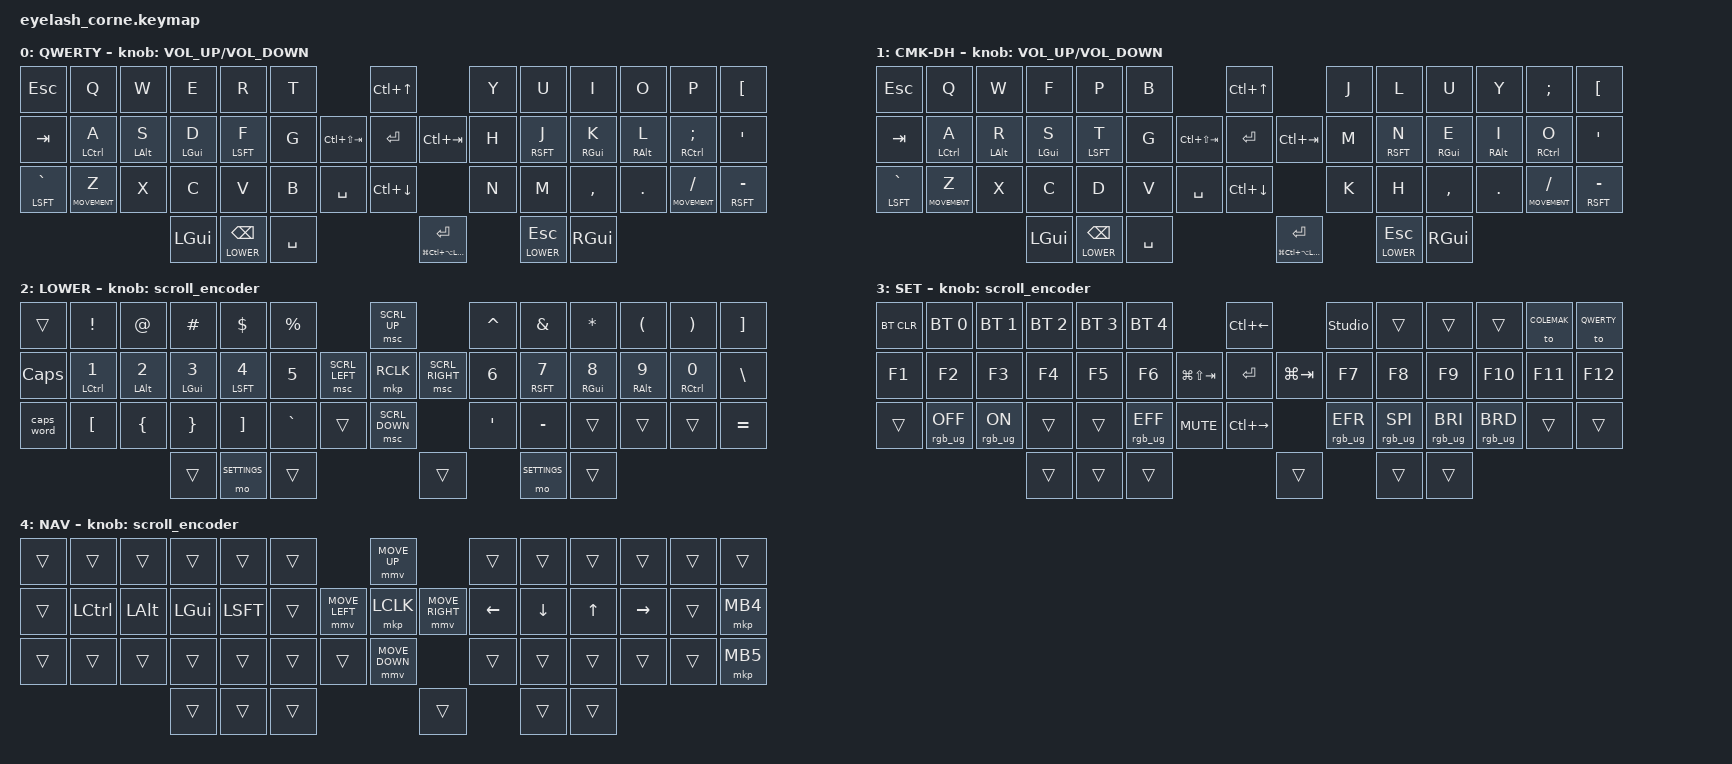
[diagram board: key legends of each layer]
#define ZMK_POINTING_DEFAULT_MOVE_VAL 1200  // 600
#define ZMK_POINTING_DEFAULT_SCRL_VAL 25   // 10

#include <input/processors.dtsi>
#include <zephyr/dt-bindings/input/input-event-codes.h>
#include <behaviors.dtsi>
#include <dt-bindings/zmk/bt.h>
#include <dt-bindings/zmk/ext_power.h>
#include <dt-bindings/zmk/keys.h>
#include <dt-bindings/zmk/outputs.h>
#include <dt-bindings/zmk/pointing.h>
#include <dt-bindings/zmk/rgb.h>


#include "zmk-helpers/key-labels/eyelash42.h"                                      // Source key-labels.
#define KEYS_L LT0 LT1 LT2 LT3 LT4 LT5 LM0 LM1 LM2 LM3 LM4 LM5 LB0 LB1 LB2 LB3 LB4 LB5  // Left-hand keys.
#define KEYS_R RT0 RT1 RT2 RT3 RT4 RT5 RM0 RM1 RM2 RM3 RM4 RM5 RB0 RB1 RB2 RB3 RB4 RB5  // Right-hand keys.
#define THUMBS LH2 LH1 LH0 RH0 RH1 RH2                                      // Thumb keys.

#define TAPPING_TERM_MS 180
#define TAPPING_TERM_SLOW_MS 220
#define QUICK_TAP_MS 100
#define REQUIRE_PRIOR_IDLE_MS 120

// Layers
#define QWERTY 0
#define COLEMAK 1
#define LOWER 2
#define SETTINGS 3
#define MOVEMENT 4

&mmv_input_listener { input-processors = <&zip_xy_scaler 2 1>; };

&msc_input_listener { input-processors = <&zip_scroll_scaler 2 1>; };

&msc {
    acceleration-exponent = <1>;      // 0
    time-to-max-speed-ms = <100>;       // 300
    delay-ms = <0>;                   // 0
};

&mmv {
    time-to-max-speed-ms = <500>;
    acceleration-exponent = <1>;
    trigger-period-ms = <16>;
};

/ {
    behaviors {
        hml: home_row_mods_left {
            compatible = "zmk,behavior-hold-tap";
            label = "HOME_ROW_MODS_LEFT";
            #binding-cells = <2>;
            flavor = "balanced";
            tapping-term-ms = <TAPPING_TERM_SLOW_MS>;
            quick-tap-ms = <QUICK_TAP_MS>;
            require-prior-idle-ms = <REQUIRE_PRIOR_IDLE_MS>;
            bindings = <&kp>, <&kp>;
            hold-trigger-key-positions = <KEYS_R THUMBS>;
            hold-trigger-on-release;
        };

        hmr: home_row_mods_right {
            compatible = "zmk,behavior-hold-tap";
            label = "HOME_ROW_MODS_RIGHT";
            #binding-cells = <2>;
            flavor = "balanced";
            tapping-term-ms = <TAPPING_TERM_SLOW_MS>;
            quick-tap-ms = <QUICK_TAP_MS>;
            require-prior-idle-ms = <REQUIRE_PRIOR_IDLE_MS>;
            bindings = <&kp>, <&kp>;
            hold-trigger-key-positions = <KEYS_L THUMBS>;
            hold-trigger-on-release;
        };

        hmls: home_row_mods_left_shift {
            compatible = "zmk,behavior-hold-tap";
            label = "HOME_ROW_MODS_LEFT";
            #binding-cells = <2>;
            flavor = "balanced";
            tapping-term-ms = <TAPPING_TERM_MS>;
            quick-tap-ms = <QUICK_TAP_MS>;
            bindings = <&kp>, <&kp>;
            hold-trigger-key-positions = <KEYS_R THUMBS>;
            hold-trigger-on-release;
        };
        hmrs: home_row_mods_right_shift {
            compatible = "zmk,behavior-hold-tap";
            label = "HOME_ROW_MODS_RIGHT";
            #binding-cells = <2>;
            flavor = "balanced";
            tapping-term-ms = <TAPPING_TERM_MS>;
            quick-tap-ms = <QUICK_TAP_MS>;
            bindings = <&kp>, <&kp>;
            hold-trigger-key-positions = <KEYS_L THUMBS>;
            hold-trigger-on-release;
        };
    };

    rgb_encoder: rgb_encoder {
        compatible = "zmk,behavior-sensor-rotate";
        #sensor-binding-cells = <0>;
        bindings = <&rgb_ug RGB_BRI>, <&rgb_ug RGB_BRD>;
    };

    scroll_encoder: scroll_encoder {
        compatible = "zmk,behavior-sensor-rotate";
        #sensor-binding-cells = <0>;
        bindings = <&msc SCRL_DOWN>, <&msc SCRL_UP>;
        tap-ms = <100>;
    };

    keymap {
        compatible = "zmk,keymap";

        qwerty_layer {
            display-name = "QWERTY";
            bindings = <
&kp ESC            &kp Q            &kp W            &kp E            &kp R            &kp T                        &kp LC(UP)                        &kp Y            &kp U            &kp I            &kp O            &kp P                   &kp LBKT
&kp TAB            &hml LCTRL A     &hml LALT S      &hml LGUI D      &hmls LSFT F     &kp G    &kp LC(LS(TAB))     &kp ENTER      &kp LC(TAB)        &kp H            &hmrs RSFT J     &hmr RGUI K      &hmr RALT L      &hmr RCTRL SEMI         &kp SQT
&hml LSFT GRAVE    &lt MOVEMENT Z   &kp X            &kp C            &kp V            &kp B    &kp SPACE           &kp LC(DOWN)                      &kp N            &kp M            &kp COMMA        &kp DOT          &lt MOVEMENT FSLH       &hmr RSFT MINUS
                                                     &kp LGUI         &lt LOWER BSPC   &kp SPACE                                   &hmr LG(LC(LA(LSFT))) ENTER         &lt LOWER ESC    &kp RGUI        
            >;
            sensor-bindings = <&inc_dec_kp C_VOLUME_UP C_VOLUME_DOWN>;
        };

        colemak_layer {
            display-name = "CMK-DH";
            bindings = <
&kp ESC            &kp Q            &kp W            &kp F            &kp P            &kp B                        &kp LC(UP)                        &kp J            &kp L            &kp U            &kp Y            &kp SEMI            &kp LBKT
&kp TAB            &hml LCTRL A     &hml LALT R      &hml LGUI S      &hmls LSFT T     &kp G    &kp LC(LS(TAB))     &kp ENTER      &kp LC(TAB)        &kp M            &hmrs RSFT N     &hmr RGUI E      &hmr RALT I      &hmr RCTRL O        &kp SQT
&hml LSFT GRAVE    &lt MOVEMENT Z   &kp X            &kp C            &kp D            &kp V    &kp SPACE           &kp LC(DOWN)                      &kp K            &kp H            &kp COMMA        &kp DOT          &lt MOVEMENT FSLH   &hmr RSFT MINUS
                                                     &kp LGUI         &lt LOWER BSPC   &kp SPACE                                   &hmr LG(LC(LA(LSFT))) ENTER         &lt LOWER ESC    &kp RGUI        
            >;
            sensor-bindings = <&inc_dec_kp C_VOLUME_UP C_VOLUME_DOWN>;
        };


        lower_layer {
            display-name = "LOWER";
            bindings = <
&trans            &kp EXCL          &kp AT           &kp HASH         &kp DOLLAR       &kp PRCNT                    &msc SCRL_UP                        &kp CARET        &kp AMPS          &kp STAR         &kp LPAR         &kp RPAR        &kp RBKT
&kp CAPS          &hml LCTRL N1     &hml LALT N2     &hml LGUI N3     &hmls LSFT N4    &kp N5    &msc SCRL_LEFT     &mkp RCLK       &msc SCRL_RIGHT     &kp  N6          &hmrs RSFT N7     &hmr RGUI N8     &hmr RALT N9     &hmr RCTRL N0   &kp BSLH
&caps_word        &kp LBKT          &kp LBRC         &kp RBRC         &kp RBKT         &kp GRAVE      &trans        &msc SCRL_DOWN                      &kp SQT          &kp MINUS         &trans           &trans           &trans          &kp EQUAL
                                                     &trans           &mo SETTINGS     &trans                                                           &trans           &mo SETTINGS      &trans
            >;
            sensor-bindings = <&scroll_encoder>;
        };

        raise_layer {
            display-name = "SET";
            bindings = <
&bt BT_CLR  &bt BT_SEL 0  &bt BT_SEL 1  &bt BT_SEL 2  &bt BT_SEL 3  &bt BT_SEL 4                 &kp LC(LEFT)                      &studio_unlock  &trans              &trans           &trans          &to COLEMAK &to QWERTY   
&kp F1      &kp F2        &kp F3        &kp F4        &kp F5        &kp F6    &kp LG(LS(TAB))    &kp ENTER      &kp LG(TAB)        &kp F7          &kp F8              &kp F9           &kp F10         &kp F11     &kp F12
&trans      &rgb_ug RGB_OFF  &rgb_ug RGB_ON  &trans   &trans        &rgb_ug RGB_EFF &kp C_MUTE   &kp LC(RIGHT)                     &rgb_ug RGB_EFR &rgb_ug RGB_SPI     &rgb_ug RGB_BRI  &rgb_ug RGB_BRD &trans      &trans
                                    &trans     &trans     &trans                                                                   &trans    &trans     &trans
            >;
            sensor-bindings = <&scroll_encoder>;
        };

        layer_3 {
            display-name = "NAV";
            bindings = <
&trans     &trans     &trans    &trans    &trans    &trans                                &mmv MOVE_UP                     &trans     &trans     &trans    &trans    &trans    &trans
&trans     &kp LCTRL  &kp LALT  &kp LGUI  &kp LSFT  &trans                &mmv MOVE_LEFT  &mkp LCLK   &mmv MOVE_RIGHT      &kp LEFT   &kp DOWN   &kp UP    &kp RIGHT &trans    &mkp MB4
&trans     &trans     &trans    &trans    &trans    &trans   &trans                       &mmv MOVE_DOWN                   &trans     &trans     &trans    &trans    &trans    &mkp MB5
                                &trans    &trans    &trans                                                                 &trans     &trans     &trans
            >;
            sensor-bindings = <&scroll_encoder>;
        };
    };
};
